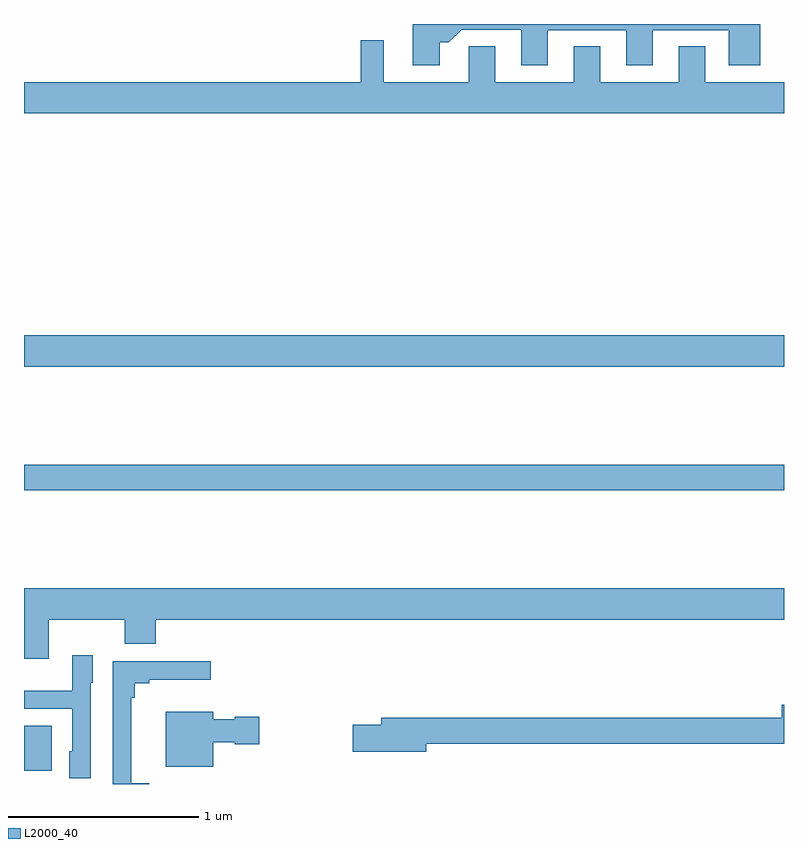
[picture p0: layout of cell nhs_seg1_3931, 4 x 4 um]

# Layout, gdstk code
import gdstk
lib = gdstk.Library(unit=1e-6, precision=1e-09)
def R(c, l, rs):  # rectangles x0, y0, x1, y1
    for r in rs: c.add(gdstk.rectangle(r[:2], r[2:], *l))
def P(c, l, *ps):  # polygons
    for p in ps: c.add(gdstk.Polygon(p, *l))
L2000_40 = (2000, 40)

nhs_seg1_3931 = lib.new_cell('nhs_seg1_3931')
R(nhs_seg1_3931, L2000_40, [(325,552.269,325.147,552.505), (325,553.744,329,553.88), (325,554.396,329,554.56)])
P(nhs_seg1_3931, L2000_40, [(327.187,556.103),(327.236,556.103),(327.303,556.17),(327.617,556.17),(327.617,555.981),(327.757,555.981),(327.757,556.167),(328.169,556.167),(328.169,555.981),(328.309,555.981),(328.309,556.167),(328.709,556.167),(328.709,555.981),(328.874,555.981),(328.874,556.199),(327.047,556.199),(327.047,555.981),(327.187,555.981)],
  [(329,555.892),(328.585,555.892),(328.585,556.082),(328.445,556.082),(328.445,555.892),(328.033,555.892),(328.033,556.082),(327.893,556.082),(327.893,555.892),(327.481,555.892),(327.481,556.082),(327.342,556.082),(327.342,555.892),(326.893,555.892),(326.893,556.114),(326.772,556.114),(326.772,555.892),(325,555.892),(325,555.728),(329,555.728)],
  [(325.129,553.064),(325.529,553.064),(325.529,552.936),(325.693,552.936),(325.693,553.064),(329,553.064),(329,553.228),(325,553.228),(325,552.858),(325.129,552.858)],
  [(325.35,552.732),(325.363,552.732),(325.363,552.877),(325.254,552.877),(325.254,552.691),(325,552.691),(325,552.594),(325.254,552.594),(325.254,552.372),(325.238,552.372),(325.238,552.229),(325.35,552.229)],
  [(325.66,552.203),(325.565,552.203),(325.565,552.653),(325.583,552.653),(325.583,552.73),(325.66,552.73),(325.66,552.749),(325.984,552.749),(325.984,552.846),(325.467,552.846),(325.467,552.199),(325.66,552.199)],
  [(327.118,552.412),(329,552.412),(329,552.616),(328.989,552.616),(328.989,552.548),(326.879,552.548),(326.879,552.512),(326.73,552.512),(326.73,552.37),(327.118,552.37)],
  [(325.996,552.419),(326.109,552.419),(326.109,552.407),(326.239,552.407),(326.239,552.554),(326.109,552.554),(326.109,552.541),(325.996,552.541),(325.996,552.58),(325.745,552.58),(325.745,552.29),(325.996,552.29)])

lib.write_gds('nhs_seg1_3931.gds')
